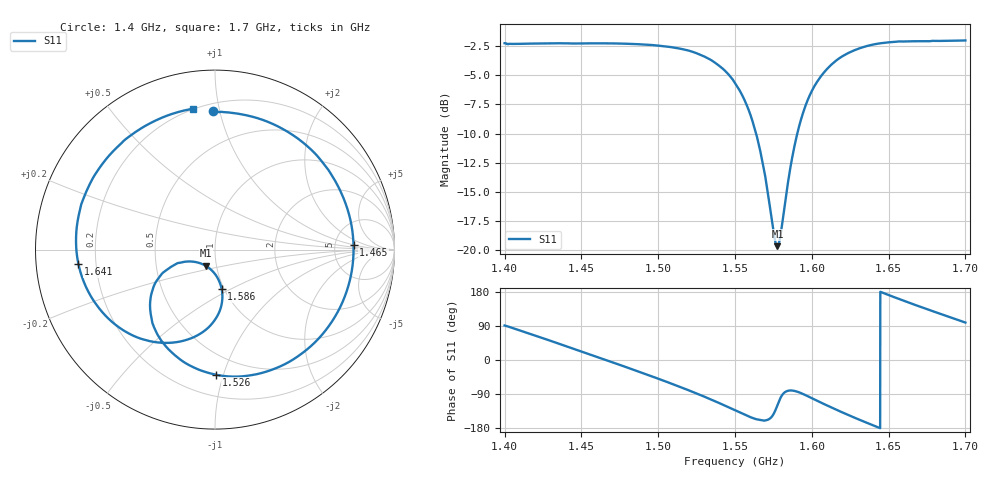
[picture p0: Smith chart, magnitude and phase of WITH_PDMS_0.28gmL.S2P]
!Keysight Technologies,E5063A,MY54503975,A.05.08
!Date: Fri Mar 07 06:34:09 2025
!Data & Calibration Information:
!Freq	S11:NONE(--)	S21:RESPT(ON)	S12:NONE(--)	S22:NONE(--)
# Hz S RI R 50
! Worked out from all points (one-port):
!   3001 points, 1.4 GHz to 1.7 GHz, reference 50 ohm
!   lowest |S11| = -19.7 dB at 1.578 GHz (marker M1), VSWR 1.23, Z = 44.4 - j8.11 ohm
!   |S11| at or under -10 dB: 1.564 GHz to 1.591 GHz (26.81 MHz wide, 1.7 % of centre)
!   S11 on the Smith chart (normalised r, x): 1.4 GHz: 0.25, +0.95; 1.465 GHz: 7.67, +0.91; 1.526 GHz: 0.35, -0.95; 1.586 GHz: 0.97, -0.45; 1.641 GHz: 0.13, -0.05; 1.7 GHz: 0.20, +0.84
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1.4e9  -0.0136 0.773  -0 -0  0 0  0 0
1.4242e9  0.4024 0.6578  0 -0  0 0  0 0
1.45e9  0.7114 0.2979  -0 0  0 0  0 0
1.4648e9  0.7717 0.0239  -0 0  0 0  0 0
1.4822e9  0.706 -0.3024  -0 0  0 0  0 0
1.5e9  0.4922 -0.5725  0 -0  0 0  0 0
1.5134e9  0.2528 -0.6894  0 0  0 0  0 0
1.5256e9  0.00756 -0.6974  0 0  0 0  0 0
1.5371e9  -0.207 -0.6021  0 0  0 0  0 0
1.55e9  -0.3541 -0.3827  0 -0  0 0  0 0
1.5638e9  -0.2885 -0.1274  0 0  0 0  0 0
1.5776e9  -0.051 -0.0903  0 0  0 0  0 0
1.5859e9  0.0371 -0.2194  0 0  0 0  0 0
1.5923e9  0.0229 -0.3497  0 0  0 0  0 0
1.6e9  -0.0897 -0.4731  0 -0  0 0  0 0
1.6085e9  -0.2679 -0.5198  0 -0  0 0  0 0
1.6175e9  -0.4609 -0.4771  -0 0  0 0  0 0
1.6295e9  -0.6608 -0.3067  -0 0  0 0  0 0
1.6408e9  -0.7607 -0.0817  -0 -0  0 0  0 0
1.65e9  -0.7712 0.1157  -0 -0  0 0  0 0
1.6775e9  -0.5152 0.5993  -0 -0  0 0  0 0
1.7e9  -0.1217 0.7851  -0 -0  0 0  0 0
